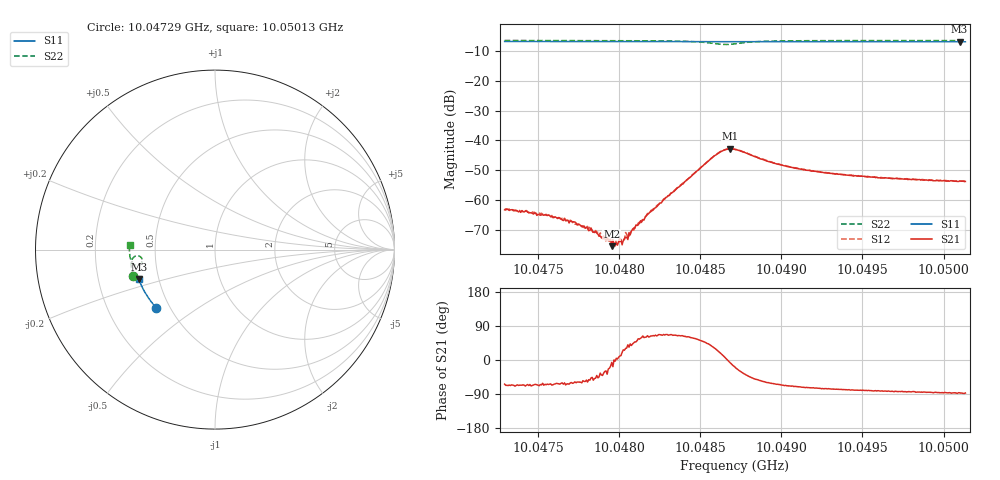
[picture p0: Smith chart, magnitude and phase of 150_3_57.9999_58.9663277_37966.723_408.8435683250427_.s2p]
#  HZ  S  RI  R  50.00
! Rohde & Schwarz Vector Network Analyzer
! Rohde-Schwarz,ZNB20-2Port,1311601062101988,3.16
! Created: UTC 3/21/2024, 12:57:00 AM
! freq[Hz]  re:S11  im:S11  re:S21  im:S21  re:S12  im:S12  re:S22  im:S22
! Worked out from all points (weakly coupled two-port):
!   401 points, 10.04729 GHz to 10.05013 GHz, reference 50 ohm
!   highest |S21| = -42.82 dB at 10.04869 GHz (marker M1); lowest = -75.6 dB at 10.04795 GHz (marker M2)
!   lowest |S11| = -6.8 dB at 10.0501 GHz (marker M3), VSWR 2.67, Z = 19.3 - j8.1 ohm
!   |S11| at or under -10 dB: nowhere
!   |S22| runs from -7.8 to -6.4 dB; largest |S21 - S12| = 0.00052
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1.0047293e10  -0.3276 -0.3234  0.000302 -0.00061  0.000328 -0.000623  -0.4562 -0.1458
1.0047414e10  -0.333 -0.3174  0.000251 -0.000575  0.000279 -0.000559  -0.4584 -0.1376
1.0047556e10  -0.3393 -0.3104  0.000244 -0.000491  0.000253 -0.000485  -0.4608 -0.1278
1.0047712e10  -0.346 -0.3024  0.000203 -0.000374  0.000229 -0.000347  -0.4632 -0.1166
1.0047769e10  -0.3483 -0.2995  0.000175 -0.000308  0.000212 -0.000296  -0.4639 -0.1123
1.0047869e10  -0.3524 -0.2943  0.000181 -0.000195  0.000215 -0.000188  -0.4653 -0.1046
1.0047954e10  -0.3558 -0.2898  0.000166 -1.85e-05  0.000166 -3.25e-05  -0.4661 -0.0978
1.0047982e10  -0.357 -0.2883  0.000189 1.53e-05  0.00021 2.41e-05  -0.4663 -0.0956
1.0048032e10  -0.3588 -0.2856  0.000201 9.69e-05  0.000173 0.000124  -0.4666 -0.0912
1.0048068e10  -0.3604 -0.2837  0.000191 0.000176  0.00017 0.0002  -0.4669 -0.0883
1.0048089e10  -0.3613 -0.2825  0.000238 0.000238  0.000193 0.000242  -0.4669 -0.0864
1.004811e10  -0.362 -0.2815  0.000233 0.000288  0.000221 0.000305  -0.4671 -0.0846
1.0048245e10  -0.3672 -0.2742  0.000326 0.000778  0.000286 0.000807  -0.4666 -0.0713
1.0048579e10  -0.3791 -0.2556  0.00438 0.00294  0.00421 0.00323  -0.4272 -0.0344
1.0048636e10  -0.3808 -0.2525  0.00649 0.00156  0.00644 0.00195  -0.4087 -0.0477
1.0048686e10  -0.3825 -0.2501  0.00716 -0.000986  0.00721 -0.000499  -0.4066 -0.0699
1.0048714e10  -0.3834 -0.2485  0.00666 -0.00227  0.00686 -0.00184  -0.4131 -0.0801
1.0048963e10  -0.3922 -0.2347  0.00183 -0.00366  0.00206 -0.00359  -0.4635 -0.0701
1.004919e10  -0.3996 -0.2215  0.000864 -0.00292  0.00103 -0.00292  -0.4726 -0.0468
1.0049666e10  -0.4131 -0.1931  0.000309 -0.0023  0.000394 -0.00229  -0.4766 -0.00837
1.0050099e10  -0.4236 -0.1665  0.000127 -0.00208  0.000244 -0.00204  -0.4762 0.0224
1.0050135e10  -0.4246 -0.1642  9.89e-05 -0.00204  0.000195 -0.00205  -0.4761 0.0249
